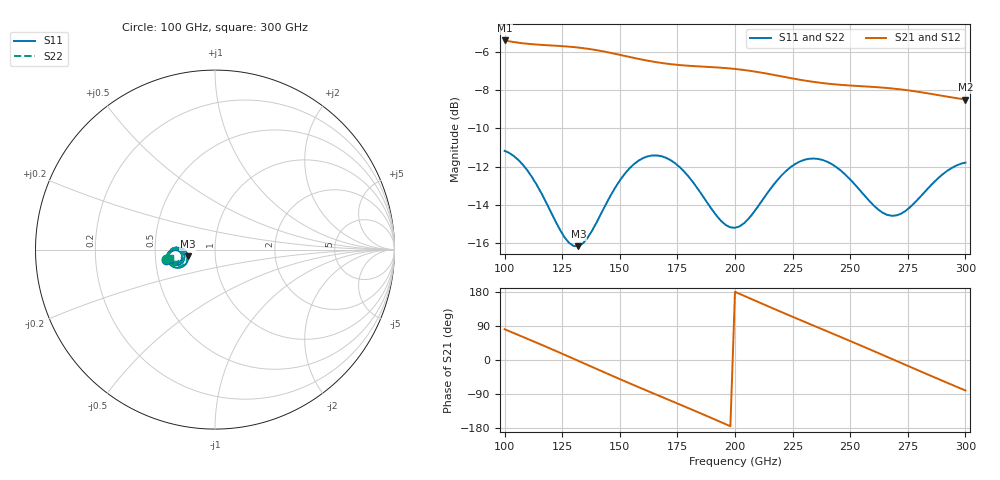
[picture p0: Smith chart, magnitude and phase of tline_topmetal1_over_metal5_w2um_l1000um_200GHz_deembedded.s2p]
! Created with skrf 2.0.1 (http://scikit-rf.org).
# GHz S DB R 50.0
!freq dBS11 angS11 dBS21 angS21 dBS12 angS12 dBS22 angS22
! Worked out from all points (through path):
!   101 points, 100 GHz to 300 GHz, reference 50 ohm
!   highest |S21| = -5.40 dB at 100 GHz (marker M1); lowest = -8.5 dB at 300 GHz (marker M2)
!   group delay of S21, straight-line fit = 7.25 ps
!   lowest |S11| = -16.2 dB at 132 GHz (marker M3), VSWR 1.37, Z = 36.8 - j2.9 ohm
!   |S11| at or under -10 dB: start of sweep to end of sweep
!   |S22| runs from -16.0 to -11.2 dB; largest |S21 - S12| = 7.1e-14
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100  -11.17 -168.3  -5.40 81.2  -5.40 81.2  -11.16 -168.8
108  -11.91 -177.5  -5.55 60.8  -5.55 60.8  -11.89 -178.0
118  -13.86 177.1  -5.64 34.9  -5.64 34.9  -13.80 176.5
132  -16.16 -165.7  -5.77 -2.2  -5.77 -2.2  -16.04 -167.0
134  -16.01 -161.9  -5.80 -7.6  -5.80 -7.6  -15.90 -163.3
142  -14.43 -152.7  -5.95 -29.1  -5.95 -29.1  -14.37 -154.4
152  -12.40 -155.1  -6.20 -55.6  -6.20 -55.6  -12.38 -156.8
160  -11.56 -162.2  -6.41 -76.4  -6.41 -76.4  -11.56 -163.9
168  -11.45 -170.3  -6.57 -96.9  -6.57 -96.9  -11.46 -172.0
176  -12.02 -177.3  -6.68 -117.3  -6.68 -117.3  -12.04 -179.0
186  -13.53 179.1  -6.77 -143.2  -6.77 -143.2  -13.55 177.3
200  -15.20 -168.3  -6.89 179.9  -6.89 179.9  -15.22 -170.1
208  -14.41 -159.2  -7.01 158.6  -7.01 158.6  -14.43 -161.1
218  -12.76 -157.9  -7.23 132.2  -7.23 132.2  -12.79 -159.8
226  -11.87 -162.4  -7.41 111.5  -7.41 111.5  -11.90 -164.4
234  -11.57 -168.8  -7.56 91.0  -7.56 91.0  -11.61 -170.9
250  -12.67 -178.7  -7.75 50.1  -7.75 50.1  -12.72 179.0
260  -14.00 -177.2  -7.83 24.1  -7.83 24.1  -14.07 -179.5
268  -14.57 -170.1  -7.91 3.0  -7.91 3.0  -14.64 -172.4
282  -13.37 -160.3  -8.13 -33.8  -8.13 -33.8  -13.43 -162.5
292  -12.23 -162.4  -8.33 -59.8  -8.33 -59.8  -12.27 -164.7
300  -11.79 -167.1  -8.49 -80.4  -8.49 -80.4  -11.82 -169.4
